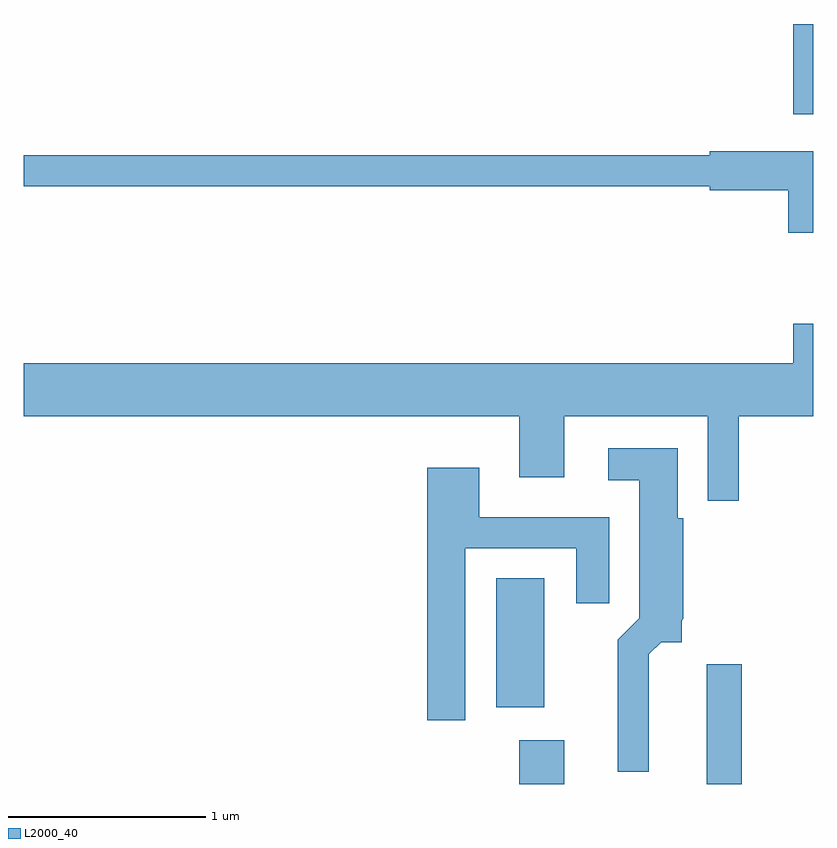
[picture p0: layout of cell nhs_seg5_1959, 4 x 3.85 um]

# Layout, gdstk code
import gdstk
lib = gdstk.Library(unit=1e-6, precision=1e-09)
def R(c, l, rs):  # rectangles x0, y0, x1, y1
    for r in rs: c.add(gdstk.rectangle(r[:2], r[2:], *l))
def P(c, l, *ps):  # polygons
    for p in ps: c.add(gdstk.Polygon(p, *l))
L2000_40 = (2000, 40)

nhs_seg5_1959 = lib.new_cell('nhs_seg5_1959')
R(nhs_seg5_1959, L2000_40, [(246.121,1426.072,246.349,1426.294), (247.071,1426.072,247.249,1426.679), (246.006,1426.461,246.249,1427.114), (247.511,1429.466,247.611,1429.924)])
P(nhs_seg5_1959, L2000_40, [(247.611,1429.279),(247.086,1429.279),(247.086,1429.259),(243.611,1429.259),(243.611,1429.101),(247.086,1429.101),(247.086,1429.081),(247.486,1429.081),(247.486,1428.866),(247.611,1428.866)],
  [(243.611,1427.936),(246.121,1427.936),(246.121,1427.626),(246.349,1427.626),(246.349,1427.936),(247.076,1427.936),(247.076,1427.508),(247.234,1427.508),(247.234,1427.936),(247.611,1427.936),(247.611,1428.404),(247.511,1428.404),(247.511,1428.204),(243.611,1428.204)],
  [(246.779,1426.729),(246.842,1426.791),(246.944,1426.791),(246.944,1426.899),(246.954,1426.909),(246.954,1427.419),(246.924,1427.419),(246.924,1427.774),(246.573,1427.774),(246.573,1427.611),(246.731,1427.611),(246.731,1426.912),(246.621,1426.802),(246.621,1426.133),(246.779,1426.133)],
  [(245.849,1427.266),(246.411,1427.266),(246.411,1426.988),(246.579,1426.988),(246.579,1427.424),(245.919,1427.424),(245.919,1427.674),(245.656,1427.674),(245.656,1426.396),(245.849,1426.396)])

lib.write_gds('nhs_seg5_1959.gds')
